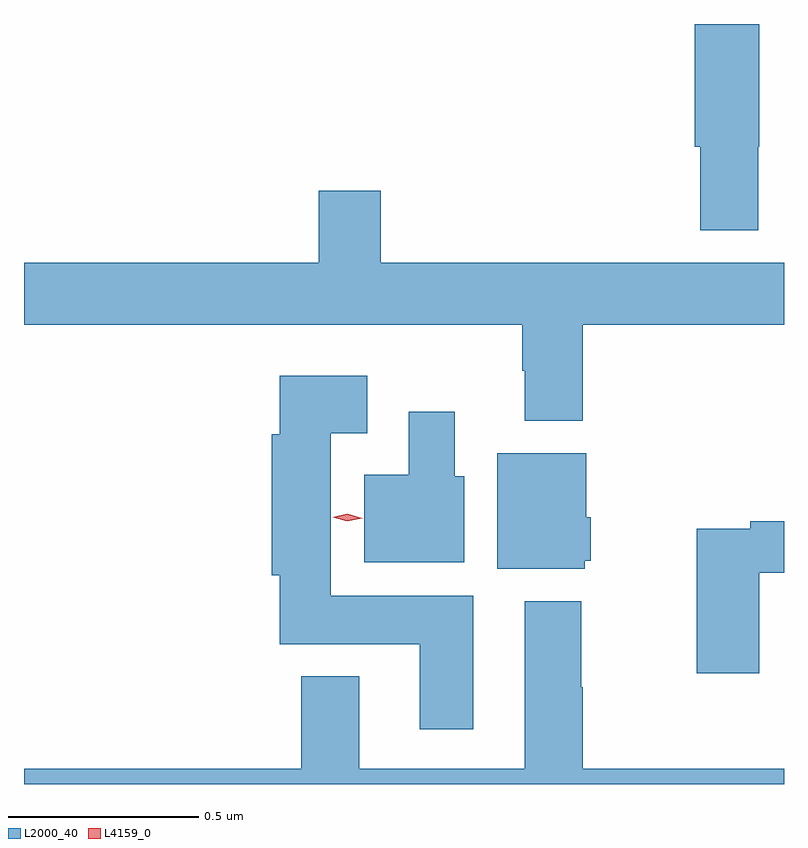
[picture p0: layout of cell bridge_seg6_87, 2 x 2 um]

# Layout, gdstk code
import gdstk
lib = gdstk.Library(unit=1e-6, precision=1e-09)
def P(c, l, *ps):  # polygons
    for p in ps: c.add(gdstk.Polygon(p, *l))
L2000_40 = (2000, 40)
L4159_0 = (4159, 0)

bridge_seg6_87 = lib.new_cell('bridge_seg6_87')
P(bridge_seg6_87, L2000_40, [(729.601,955.797),(729.604,955.797),(729.604,956.12),(729.434,956.12),(729.434,955.797),(729.449,955.797),(729.449,955.577),(729.601,955.577)],
  [(729.14,955.328),(729.669,955.328),(729.669,955.492),(728.608,955.492),(728.608,955.681),(728.444,955.681),(728.444,955.492),(727.669,955.492),(727.669,955.328),(728.98,955.328),(728.98,955.208),(728.987,955.208),(728.987,955.076),(729.14,955.076)],
  [(728.851,954.616),(728.476,954.616),(728.476,955.043),(728.572,955.043),(728.572,955.195),(728.342,955.195),(728.342,955.041),(728.321,955.041),(728.321,954.669),(728.342,954.669),(728.342,954.488),(728.711,954.488),(728.711,954.264),(728.851,954.264)],
  [(728.827,954.93),(728.803,954.93),(728.803,955.099),(728.681,955.099),(728.681,954.934),(728.564,954.934),(728.564,954.704),(728.827,954.704)],
  [(729.144,954.708),(729.16,954.708),(729.16,954.822),(729.148,954.822),(729.148,954.991),(728.915,954.991),(728.915,954.686),(729.144,954.686)],
  [(729.604,954.676),(729.669,954.676),(729.669,954.812),(729.58,954.812),(729.58,954.792),(729.439,954.792),(729.439,954.411),(729.604,954.411)],
  [(729.669,954.16),(729.14,954.16),(729.14,954.375),(729.135,954.375),(729.135,954.601),(728.987,954.601),(728.987,954.16),(728.551,954.16),(728.551,954.403),(728.399,954.403),(728.399,954.16),(727.669,954.16),(727.669,954.12),(729.669,954.12)])
P(bridge_seg6_87, L4159_0, [(728.52,954.811),(728.481,954.822),(728.481,954.822),(728.481,954.822),(728.52,954.831),(728.559,954.82),(728.56,954.82),(728.559,954.82)])

lib.write_gds('bridge_seg6_87.gds')
